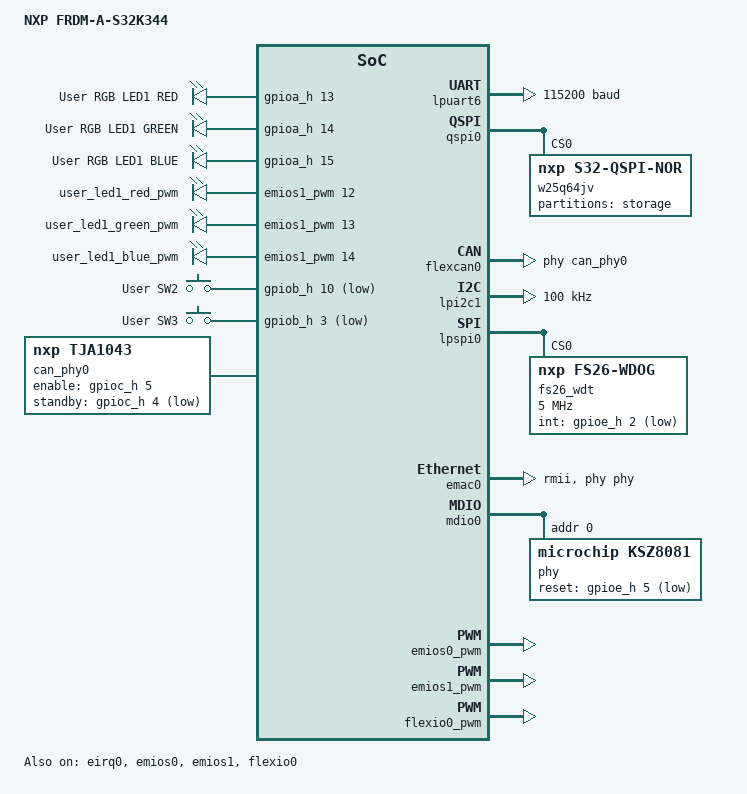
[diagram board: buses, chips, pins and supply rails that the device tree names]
/*
 * Copyright 2025 NXP
 *
 * SPDX-License-Identifier: Apache-2.0
 */

#include <arm/nxp/s32/nxp_s32k344_m7.dtsi>
#include <zephyr/dt-bindings/gpio/gpio.h>
#include <zephyr/dt-bindings/input/input-event-codes.h>
#include <freq.h>
#include <zephyr/dt-bindings/pwm/pwm.h>
#include "frdm_a_s32k344-pinctrl.dtsi"

/ {
	model = "NXP FRDM-A-S32K344";
	compatible = "nxp,frdm_a_s32k344";

	chosen {
		zephyr,sram = &sram0_1;
		zephyr,flash = &flash0;
		zephyr,itcm = &itcm;
		zephyr,dtcm = &dtcm;
		zephyr,console = &lpuart6;
		zephyr,shell-uart = &lpuart6;
		zephyr,flash-controller = &c40fc;
		zephyr,canbus = &flexcan0;
	};

	aliases {
		dma0 = &edma0;
		led0 = &user_led1_red;
		led1 = &user_led1_green;
		led2 = &user_led1_blue;
		sw0 = &user_button_1;
		sw1 = &user_button_2;
		watchdog0 = &swt0;
		/* For pwm test suites */
		pwm-0 = &emios0_pwm;
		pwm-1 = &flexio0_pwm;
		red-pwm-led = &user_led1_red_pwm;
		green-pwm-led = &user_led1_green_pwm;
		blue-pwm-led = &user_led1_blue_pwm;
		pwm-led0 = &user_led1_blue_pwm;
	};

	leds {
		compatible = "gpio-leds";

		user_led1_red: user_led1_red {
			gpios = <&gpioa_h 13 GPIO_ACTIVE_HIGH>;
			label = "User RGB LED1 RED";
		};

		user_led1_green: user_led1_green {
			gpios = <&gpioa_h 14 GPIO_ACTIVE_HIGH>;
			label = "User RGB LED1 GREEN";
		};

		user_led1_blue: user_led1_blue {
			gpios = <&gpioa_h 15 GPIO_ACTIVE_HIGH>;
			label = "User RGB LED1 BLUE";
		};
	};

	/* gpio-leds and pwm-leds are the same RGB LED and cannot be used at the same time. */
	pwmleds {
		compatible = "pwm-leds";

		user_led1_red_pwm: user_led1_red {
			pwms = <&emios1_pwm 12 PWM_MSEC(20) PWM_POLARITY_INVERTED>;
		};

		user_led1_green_pwm: user_led1_green {
			pwms = <&emios1_pwm 13 PWM_MSEC(20) PWM_POLARITY_INVERTED>;
		};

		user_led1_blue_pwm: user_led1_blue {
			pwms = <&emios1_pwm 14 PWM_MSEC(20) PWM_POLARITY_INVERTED>;
		};
	};

	gpio_keys {
		compatible = "gpio-keys";

		user_button_1: button_0 {
			label = "User SW2";
			gpios = <&gpiob_h 10 GPIO_ACTIVE_LOW>;
			zephyr,code = <INPUT_KEY_0>;
		};

		user_button_2: button_1 {
			label = "User SW3";
			gpios = <&gpiob_h 3 GPIO_ACTIVE_LOW>;
			zephyr,code = <INPUT_KEY_1>;
		};
	};

	can_phy0: can-phy0 {
		compatible = "nxp,tja1043", "can-transceiver-gpio";
		enable-gpios = <&gpioc_h 5 GPIO_ACTIVE_HIGH>;
		standby-gpios = <&gpioc_h 4 GPIO_ACTIVE_LOW>;
		max-bitrate = <5000000>;
		#phy-cells = <0>;
	};
};

&pmc {
	lm-reg;
};

&gpioa_h {
	status = "okay";
};

&gpioe_l {
	status = "okay";
};

/* Enable gpio to control the CAN transceivers and LEDs */

&gpiob_h {
	status = "okay";
};

&gpioc_h {
	status = "okay";
};

&gpiod_l {
	status = "okay";
};

&gpiod_h {
	status = "okay";
};

&gpiob_l {
	status = "okay";
};

&gpioe_h {
	status = "okay";
};

&eirq0 {
	pinctrl-0 = <&eirq0_default>;
	pinctrl-names = "default";
	status = "okay";
};

&lpuart5 {
	pinctrl-0 = <&lpuart5_default>;
	pinctrl-names = "default";
	dmas = <&edma0 16 44>, <&edma0 17 45>;
	dma-names = "tx", "rx";
};

&lpuart6 {
	pinctrl-0 = <&lpuart6_default>;
	pinctrl-names = "default";
	current-speed = <115200>;
	status = "okay";
};

&lpuart9 {
	pinctrl-0 = <&lpuart9_default>;
	pinctrl-names = "default";
	dmas = <&edma0 4 39>, <&edma0 5 40>;
	dma-names = "tx", "rx";
};

/* External flash is a WINBOND W25Q64JV 64 Mbit serial NOR (UM12406, section 11) */
&qspi0 {
	pinctrl-0 = <&qspi0_default>;
	pinctrl-names = "default";
	data-rate = "SDR";
	a-rx-clock-source = "LOOPBACK";
	a-dll-mode = "BYPASSED";
	ahb-buffers-masters = <0 1 2 3>;
	ahb-buffers-sizes = <0 0 0 256>;
	ahb-buffers-all-masters;
	status = "okay";

	w25q64jv: w25q64jv@0 {
		compatible = "nxp,s32-qspi-nor";
		reg = <0>;
		size = <DT_SIZE_M(64)>;
		jedec-id = [ef 40 17];
		quad-enable-requirements = "S2B1v1";
		readoc = "1-4-4";
		writeoc = "1-4-4";
		has-32k-erase;
		max-program-buffer-size = <256>;
		write-block-size = <1>;
		status = "okay";

		partitions {
			compatible = "fixed-partitions";
			#address-cells = <1>;
			#size-cells = <1>;

			storage_partition: partition@0 {
				label = "storage";
				reg = <0x0 0x100000>;
			};
		};
	};
};

&flexcan0 {
	pinctrl-0 = <&flexcan0_default>;
	pinctrl-names = "default";
	phys = <&can_phy0>;
	status = "okay";
};

&lpi2c1 {
	pinctrl-0 = <&lpi2c1_default>;
	pinctrl-names = "default";
	clock-frequency = <I2C_BITRATE_STANDARD>;
	status = "okay";
};

&lpspi0 {
	pinctrl-0 = <&lpspi0_default>;
	pinctrl-names = "default";
	data-pin-config = "sdo-in,sdi-out";
	status = "okay";

	fs26_wdt: watchdog@0 {
		compatible = "nxp,fs26-wdog";
		reg = <0>;
		spi-max-frequency = <DT_FREQ_M(5)>;
		type = "challenger";
		int-gpios = <&gpioe_h 2 GPIO_ACTIVE_LOW>;
		status = "okay";
	};
};

&emac0 {
	pinctrl-0 = <&emac0_default>;
	pinctrl-names = "default";
	phy-connection-type = "rmii";
	zephyr,random-mac-address;
	phy-handle = <&phy>;
	status = "okay";
};

&mdio0 {
	pinctrl-0 = <&mdio0_default>;
	pinctrl-names = "default";
	status = "okay";

	/*
	 * The board's actual PHY is a Microchip KSZ8091RNDIA-TRU14 (see UM12406
	 * Table 12). Zephyr has no dedicated nxp,ksz8091 binding,
	 * both parts share the same base register map (control/status/ID/clock registers);
	 * KSZ8091 only adds EEE/WOL, which are not enabled here.
	 */
	phy: ethernet-phy@0 {
		compatible = "microchip,ksz8081";
		status = "okay";
		reg = <0x00>;
		reset-gpios = <&gpioe_h 5 GPIO_ACTIVE_LOW>; /* PTE21, ENET_RESET */
		microchip,interface-type = "rmii";
	};
};

&emios0 {
	clock-divider = <200>;
	status = "okay";

	emios0_pwm: pwm {
		pinctrl-0 = <&emios0_default>;
		pinctrl-names = "default";
		status = "okay";

		/* Default clock for internal counter for PWM channel 0-7 is 100Khz */
		pwm_0 {
			channel = <0>;
			pwm-mode = "OPWFMB";
			prescaler = <8>;
		};

		pwm_1 {
			channel = <1>;
			pwm-mode = "OPWFMB";
			prescaler = <8>;
		};

		pwm_2 {
			channel = <2>;
			pwm-mode = "OPWFMB";
			prescaler = <8>;
		};

		pwm_3 {
			channel = <3>;
			pwm-mode = "OPWFMB";
			prescaler = <8>;
		};

		pwm_4 {
			channel = <4>;
			pwm-mode = "OPWFMB";
			prescaler = <8>;
		};

		pwm_5 {
			channel = <5>;
			pwm-mode = "OPWFMB";
			prescaler = <8>;
		};
	};
};

&emios1 {
	clock-divider = <200>;
	status = "okay";

	master_bus {
		/*
		 * Timebase for PWM led, setting clock 50KHz for internal counter,
		 * default period is 1000 cycles <-> 20ms.
		 */
		emios1_bus_a {
			prescaler = <16>;
			mode = "MCB_UP_COUNTER";
			status = "okay";
		};
	};

	emios1_pwm: pwm {
		pinctrl-0 = <&emios1_default>;
		pinctrl-names = "default";
		status = "okay";

		rgb_red {
			channel = <12>;
			master-bus = <&emios1_bus_a>;
			pwm-mode = "OPWMB";
		};

		rgb_green {
			channel = <13>;
			master-bus = <&emios1_bus_a>;
			pwm-mode = "OPWMB";
		};

		rgb_blue {
			channel = <14>;
			master-bus = <&emios1_bus_a>;
			pwm-mode = "OPWMB";
		};
	};
};

&flexio0 {
	status = "okay";

	flexio0_pwm: flexio0_pwm {
		pinctrl-0 = <&flexio0_pwm_default>;
		pinctrl-names = "default";
		status = "okay";

		pwm_0 {
			pin-id = <19>;
			prescaler = <1>;
		};

		pwm_1 {
			pin-id = <11>;
			prescaler = <1>;
		};
	};
};

&edma0 {
	status = "okay";
};
